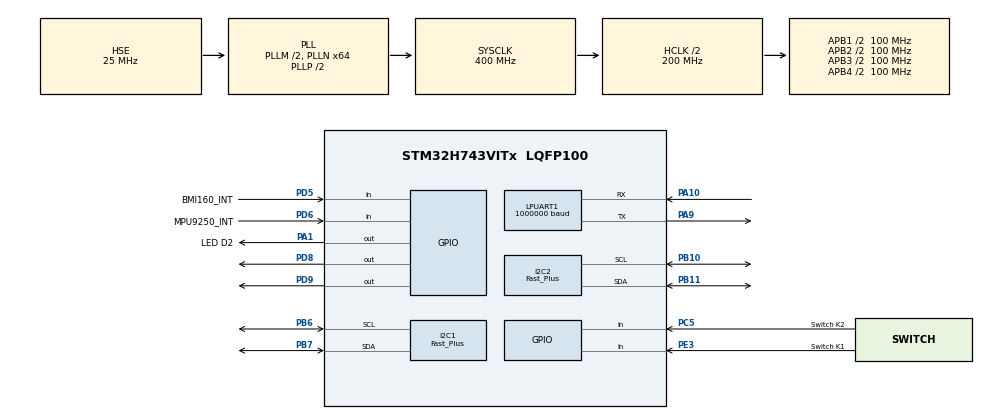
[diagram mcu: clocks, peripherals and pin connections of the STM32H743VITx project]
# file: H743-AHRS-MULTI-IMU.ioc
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I2C1.I2C_Speed_Mode=I2C_Fast_Plus
I2C1.Timing=0x00401242
I2C2.I2C_Speed_Mode=I2C_Fast_Plus
I2C2.Timing=0x00401242
LPUART1.BaudRate=1000000
Mcu.Family=STM32H7
Mcu.Name=STM32H743VITx
Mcu.Package=LQFP100
NVIC.PriorityGroup=NVIC_PRIORITYGROUP_4
PA1.GPIO_Label=LED D2
PA1.Signal=GPIO_Output
PA10.Mode=Asynchronous
PA10.Signal=LPUART1_RX
PA13\ (JTMS/SWDIO).Mode=Serial_Wire
PA13\ (JTMS/SWDIO).Signal=DEBUG_JTMS-SWDIO
PA14\ (JTCK/SWCLK).Mode=Serial_Wire
PA14\ (JTCK/SWCLK).Signal=DEBUG_JTCK-SWCLK
PA9.Mode=Asynchronous
PA9.Signal=LPUART1_TX
PB10.Mode=I2C
PB10.Signal=I2C2_SCL
PB11.Mode=I2C
PB11.Signal=I2C2_SDA
PB6.Mode=I2C
PB6.Signal=I2C1_SCL
PB7.Mode=I2C
PB7.Signal=I2C1_SDA
PC14-OSC32_IN\ (OSC32_IN).Mode=LSE-External-Oscillator
PC14-OSC32_IN\ (OSC32_IN).Signal=RCC_OSC32_IN
PC15-OSC32_OUT\ (OSC32_OUT).Mode=LSE-External-Oscillator
PC15-OSC32_OUT\ (OSC32_OUT).Signal=RCC_OSC32_OUT
PC5.GPIO_Label=Switch K2
PC5.Signal=GPIO_Input
PD5.GPIO_Label=BMI160_INT
PD5.Signal=GPIO_Input
PD6.GPIO_Label=MPU9250_INT
PD6.Signal=GPIO_Input
PD8.Signal=GPIO_Output
PD9.Signal=GPIO_Output
PE3.GPIO_Label=Switch K1
PE3.Signal=GPIO_Input
PH0-OSC_IN\ (PH0).Mode=HSE-External-Oscillator
PH0-OSC_IN\ (PH0).Signal=RCC_OSC_IN
PH1-OSC_OUT\ (PH1).Mode=HSE-External-Oscillator
PH1-OSC_OUT\ (PH1).Signal=RCC_OSC_OUT
ProjectManager.HeapSize=0x400
ProjectManager.StackSize=0x800
ProjectManager.TargetToolchain=STM32CubeIDE
RCC.ADCFreq_Value=50390625
RCC.APB1Freq_Value=100000000
RCC.APB2Freq_Value=100000000
RCC.APB3Freq_Value=100000000
RCC.APB4Freq_Value=100000000
RCC.CortexFreq_Value=400000000
RCC.D1PPRE=RCC_APB3_DIV2
RCC.D2PPRE1=RCC_APB1_DIV2
RCC.D2PPRE2=RCC_APB2_DIV2
RCC.D3PPRE=RCC_APB4_DIV2
RCC.DIVM1=2
RCC.DIVN1=64
RCC.DIVQ1=1
RCC.DIVR1=8
RCC.HCLKFreq_Value=200000000
RCC.HPRE=RCC_HCLK_DIV2
RCC.PLL2FRACN=0
RCC.PLL2_VCI_Range-AdvancedSettings=RCC_PLL2VCIRANGE_0
RCC.PLL3FRACN=0
RCC.PLLFRACN=0
RCC.PLLSourceVirtual=RCC_PLLSOURCE_HSE
RCC.PWR_Regulator_Voltage_Scale=PWR_REGULATOR_VOLTAGE_SCALE0
RCC.SYSCLKFreq_VALUE=400000000
RCC.SYSCLKSource=RCC_SYSCLKSOURCE_PLLCLK
RCC.USBFreq_Value=800000000
board=custom

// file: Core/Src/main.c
/* USER CODE BEGIN Header */
/**
  ******************************************************************************
  * @file           : main.c
  * @brief          : Main program body
  ******************************************************************************
  * @attention
  *
  * Copyright (c) 2022 STMicroelectronics.
  * All rights reserved.
  *
  * This software is licensed under terms that can be found in the LICENSE file
  * in the root directory of this software component.
  * If no LICENSE file comes with this software, it is provided AS-IS.
  *
  ******************************************************************************
  */
/* USER CODE END Header */
#include "main.h"
#include "i2c.h"
#include "usart.h"
#include "gpio.h"
/* USER CODE BEGIN Includes */
#include "stdint.h"
#include "stdio.h"
#include "math.h"
#include "mpu6050.h"
#include "bmi160_wrapper.h"
#include "micros.h"
#include "quaternion.h"
#include "LowPassFilter.h"
#include "NotchFilter.h"
/* USER CODE END Includes */

/* USER CODE BEGIN PTD */
MPU6050_t imu_mpu_t;
BMI160_t imu_bmi_t;

Quaternion_t quaternion_mpu_t;
Quaternion_t quaternion_bmi_t;

NotchFilter_t NF_mpu_gyro_x, NF_mpu_gyro_y, NF_mpu_gyro_z;
LPFTwoPole_t LPF_mpu_accel_x, LPF_mpu_accel_y, LPF_mpu_accel_z, LPF_mpu_gyro_x, LPF_mpu_gyro_y, LPF_mpu_gyro_z;

NotchFilter_t NF_bmi_gyro_x, NF_bmi_gyro_y, NF_bmi_gyro_z;
LPFTwoPole_t LPF_bmi_accel_x, LPF_bmi_accel_y, LPF_bmi_accel_z, LPF_bmi_gyro_x, LPF_bmi_gyro_y, LPF_bmi_gyro_z;
/* USER CODE END PTD */

/* USER CODE BEGIN PD */

#define 	SAMPLE_FREQ_HZ 		500.0f	// Data sample frequency in Hz
#define 	LPF_ACCEL_CTOFF_HZ 	260.0f	// LPF Cut-Off or accelerometer
#define 	LPF_GYRO_CTOFF_HZ 	256.0f	// LPF Cut-Off or gyro
#define 	NF_GYRO_CFREQ_HZ	74.0f	// NF center frequency for Gyro
#define 	NF_GYRO_NWDTH_HZ	5.0f	// NF notch-width frequency for Gyro
/* USER CODE END PD */

void SystemClock_Config(void);

/* USER CODE BEGIN 0 */
int _write(int file, char *ptr, int len)
{
	HAL_UART_Transmit(&hlpuart1, (uint8_t*)ptr, len, HAL_MAX_DELAY);
	return len;
}

float sample_time_sec_f32 = 1.0f / SAMPLE_FREQ_HZ;
float sample_time_ms_f32 = (1.0f / SAMPLE_FREQ_HZ) * 1000.0f;
float sample_time_us_f32 = (1.0f / SAMPLE_FREQ_HZ) * 1000000.0f;

float MPU_accelLowPassFiltered_f32[3], MPU_gyroLowPassFiltered_f32[3], MPU_gyroNotchFiltered_f32[3];
float BMI_accelLowPassFiltered_f32[3], BMI_gyroLowPassFiltered_f32[3], BMI_gyroNotchFiltered_f32[3];

float MPU_eulerAngles_f32[3];
float BMI_eulerAngles_f32[3];

uint64_t timer_u64 = 0;
uint64_t lastTime_u64 = 0;
/* USER CODE END 0 */

int main(void)
{

  /* MCU Configuration--------------------------------------------------------*/

  /* Reset of all peripherals, Initializes the Flash interface and the Systick. */
  HAL_Init();

  /* Configure the system clock */
  SystemClock_Config();

  /* Initialize all configured peripherals */
  MX_GPIO_Init();
  MX_LPUART1_UART_Init();
  MX_I2C1_Init();
  MX_I2C2_Init();
  /* USER CODE BEGIN 2 */

  HAL_GPIO_WritePin(GPIOA, GPIO_PIN_1, SET);

  //Init DWT Clock for proper us time tick
  DWT_Init();

  //Init filter with predefined settings
  LPFTwoPole_Init(&LPF_mpu_accel_x, LPF_TYPE_BESSEL, LPF_ACCEL_CTOFF_HZ, sample_time_sec_f32);
  LPFTwoPole_Init(&LPF_mpu_accel_y, LPF_TYPE_BESSEL, LPF_ACCEL_CTOFF_HZ, sample_time_sec_f32);
  LPFTwoPole_Init(&LPF_mpu_accel_z, LPF_TYPE_BESSEL, LPF_ACCEL_CTOFF_HZ, sample_time_sec_f32);

  LPFTwoPole_Init(&LPF_bmi_accel_x, LPF_TYPE_BESSEL, LPF_ACCEL_CTOFF_HZ, sample_time_sec_f32);
  LPFTwoPole_Init(&LPF_bmi_accel_y, LPF_TYPE_BESSEL, LPF_ACCEL_CTOFF_HZ, sample_time_sec_f32);
  LPFTwoPole_Init(&LPF_bmi_accel_z, LPF_TYPE_BESSEL, LPF_ACCEL_CTOFF_HZ, sample_time_sec_f32);

  LPFTwoPole_Init(&LPF_mpu_gyro_x, LPF_TYPE_BESSEL, LPF_GYRO_CTOFF_HZ, sample_time_sec_f32);
  LPFTwoPole_Init(&LPF_mpu_gyro_y, LPF_TYPE_BESSEL, LPF_GYRO_CTOFF_HZ, sample_time_sec_f32);
  LPFTwoPole_Init(&LPF_mpu_gyro_z, LPF_TYPE_BESSEL, LPF_GYRO_CTOFF_HZ, sample_time_sec_f32);

  LPFTwoPole_Init(&LPF_bmi_gyro_x, LPF_TYPE_BESSEL, LPF_GYRO_CTOFF_HZ, sample_time_sec_f32);
  LPFTwoPole_Init(&LPF_bmi_gyro_y, LPF_TYPE_BESSEL, LPF_GYRO_CTOFF_HZ, sample_time_sec_f32);
  LPFTwoPole_Init(&LPF_bmi_gyro_z, LPF_TYPE_BESSEL, LPF_GYRO_CTOFF_HZ, sample_time_sec_f32);

  NotchFilterInit(&NF_mpu_gyro_x, NF_GYRO_CFREQ_HZ, NF_GYRO_NWDTH_HZ, sample_time_sec_f32);
  NotchFilterInit(&NF_mpu_gyro_y, NF_GYRO_CFREQ_HZ, NF_GYRO_NWDTH_HZ, sample_time_sec_f32);
  NotchFilterInit(&NF_mpu_gyro_z, NF_GYRO_CFREQ_HZ, NF_GYRO_NWDTH_HZ, sample_time_sec_f32);

  NotchFilterInit(&NF_bmi_gyro_x, NF_GYRO_CFREQ_HZ, NF_GYRO_NWDTH_HZ, sample_time_sec_f32);
  NotchFilterInit(&NF_bmi_gyro_y, NF_GYRO_CFREQ_HZ, NF_GYRO_NWDTH_HZ, sample_time_sec_f32);
  NotchFilterInit(&NF_bmi_gyro_z, NF_GYRO_CFREQ_HZ, NF_GYRO_NWDTH_HZ, sample_time_sec_f32);

  //Init state estimators
  quaternionInit(&quaternion_mpu_t, sample_time_us_f32);
  quaternionInit(&quaternion_bmi_t, sample_time_us_f32);

  //Init sensors
	while (MPU6050_Init(&hi2c1, &imu_mpu_t));

	while (BMI160_init(imu_bmi_t) == 1);

	if ((imu_bmi_t.INIT_OK_i8 != TRUE) && (imu_mpu_t.CALIBRATIN_OK_u8 == TRUE))
	{
	   HAL_GPIO_WritePin(GPIOA, GPIO_PIN_1, RESET);
	}

	uint8_t newData_u8;
  /* USER CODE END 2 */

  /* Infinite loop */
  while (1)
  {

    /* USER CODE BEGIN 3 */

	//Get system time in us
	timer_u64 =  micros();

	if ( ((timer_u64 - lastTime_u64) >= sample_time_us_f32) && (imu_mpu_t.CALIBRATIN_OK_u8 == TRUE) && (imu_bmi_t.INIT_OK_i8 != TRUE))
	{
		lastTime_u64 = timer_u64 = micros();

		/**************************************| DATA READ |**************************************/

		//Read MPU6050 sensor data
		readMPU6050(&hi2c1, &imu_mpu_t);
		bmi160ReadAccelGyro(&imu_bmi_t);

		/**************************************| FILTERING |**************************************/

		//Get accelerometer data in "g" and run LPF
		MPU_accelLowPassFiltered_f32[0] = (LPFTwoPole_Update(&LPF_mpu_accel_x, imu_mpu_t.MPU6050_Accel_f32[0]));
		MPU_accelLowPassFiltered_f32[1] = (LPFTwoPole_Update(&LPF_mpu_accel_y, imu_mpu_t.MPU6050_Accel_f32[1]));
		MPU_accelLowPassFiltered_f32[2] = (LPFTwoPole_Update(&LPF_mpu_accel_z, imu_mpu_t.MPU6050_Accel_f32[2]));

		BMI_accelLowPassFiltered_f32[0] = (LPFTwoPole_Update(&LPF_bmi_accel_x, imu_bmi_t.BMI160_Accel_f32[0]));
		BMI_accelLowPassFiltered_f32[1] = (LPFTwoPole_Update(&LPF_bmi_accel_y, imu_bmi_t.BMI160_Accel_f32[1]));
		BMI_accelLowPassFiltered_f32[2] = (LPFTwoPole_Update(&LPF_bmi_accel_z, imu_bmi_t.BMI160_Accel_f32[2]));

		//Get gyro data in "deg/s" and run Notch Filter to flat-out any data in specific frequency band
		MPU_gyroNotchFiltered_f32[0] = NotchFilter_Update(&NF_mpu_gyro_x, imu_mpu_t.MPU6050_Gyro_f32[0]);
		MPU_gyroNotchFiltered_f32[1] = NotchFilter_Update(&NF_mpu_gyro_y, imu_mpu_t.MPU6050_Gyro_f32[1]);
		MPU_gyroNotchFiltered_f32[2] = NotchFilter_Update(&NF_mpu_gyro_z, imu_mpu_t.MPU6050_Gyro_f32[2]);

		BMI_gyroNotchFiltered_f32[0] = NotchFilter_Update(&NF_bmi_gyro_x, imu_bmi_t.BMI160_Gyro_f32[0]);
		BMI_gyroNotchFiltered_f32[1] = NotchFilter_Update(&NF_bmi_gyro_y, imu_bmi_t.BMI160_Gyro_f32[1]);
		BMI_gyroNotchFiltered_f32[2] = NotchFilter_Update(&NF_bmi_gyro_z, imu_bmi_t.BMI160_Gyro_f32[2]);

		//Put Notch Filter data into Low Pass Filter
		MPU_gyroLowPassFiltered_f32[0] = (LPFTwoPole_Update(&LPF_mpu_gyro_x, MPU_gyroNotchFiltered_f32[0]));
		MPU_gyroLowPassFiltered_f32[1] = (LPFTwoPole_Update(&LPF_mpu_gyro_y, MPU_gyroNotchFiltered_f32[1]));
		MPU_gyroLowPassFiltered_f32[2] = (LPFTwoPole_Update(&LPF_mpu_gyro_z, MPU_gyroNotchFiltered_f32[2]));

		BMI_gyroLowPassFiltered_f32[0] = (LPFTwoPole_Update(&LPF_bmi_gyro_x, BMI_gyroNotchFiltered_f32[0]));
		BMI_gyroLowPassFiltered_f32[1] = (LPFTwoPole_Update(&LPF_bmi_gyro_y, BMI_gyroNotchFiltered_f32[1]));
		BMI_gyroLowPassFiltered_f32[2] = (LPFTwoPole_Update(&LPF_bmi_gyro_z, BMI_gyroNotchFiltered_f32[2]));

		/**************************************| ESTIMATION |**************************************/

		//Get state estimations, using quaternion and fusion-quaternion based estimators
		quaternionUpdate(&quaternion_mpu_t, MPU_accelLowPassFiltered_f32[0], MPU_accelLowPassFiltered_f32[1], MPU_accelLowPassFiltered_f32[2],
				MPU_gyroNotchFiltered_f32[0]*(M_PI/180.0f), MPU_gyroNotchFiltered_f32[1]*(M_PI/180.0f), MPU_gyroNotchFiltered_f32[2]*(M_PI/180.0f));

		quaternionUpdate(&quaternion_bmi_t, BMI_accelLowPassFiltered_f32[0], BMI_accelLowPassFiltered_f32[1], BMI_accelLowPassFiltered_f32[2],
				BMI_gyroNotchFiltered_f32[0]*(M_PI/180.0f), BMI_gyroNotchFiltered_f32[1]*(M_PI/180.0f), BMI_gyroNotchFiltered_f32[2]*(M_PI/180.0f));

		newData_u8 = TRUE; //Set newData to high for activate UART printer

	}//end of timer if

	if(newData_u8)
	{
		printf("%f, %f, %f, %f, %f, %f\r\n",
				quaternion_mpu_t.yaw, quaternion_mpu_t.pitch, quaternion_mpu_t.roll,
				quaternion_bmi_t.yaw, quaternion_bmi_t.pitch, quaternion_bmi_t.roll);

		newData_u8 = FALSE;
	}

  }
  /* USER CODE END 3 */
}

void SystemClock_Config(void)
{
  RCC_OscInitTypeDef RCC_OscInitStruct = {0};
  RCC_ClkInitTypeDef RCC_ClkInitStruct = {0};

  /** Supply configuration update enable
  */
  HAL_PWREx_ConfigSupply(PWR_LDO_SUPPLY);
  /** Configure the main internal regulator output voltage
  */
  __HAL_PWR_VOLTAGESCALING_CONFIG(PWR_REGULATOR_VOLTAGE_SCALE0);

  while(!__HAL_PWR_GET_FLAG(PWR_FLAG_VOSRDY)) {}
  /** Initializes the RCC Oscillators according to the specified parameters
  * in the RCC_OscInitTypeDef structure.
  */
  RCC_OscInitStruct.OscillatorType = RCC_OSCILLATORTYPE_HSE;
  RCC_OscInitStruct.HSEState = RCC_HSE_ON;
  RCC_OscInitStruct.PLL.PLLState = RCC_PLL_ON;
  RCC_OscInitStruct.PLL.PLLSource = RCC_PLLSOURCE_HSE;
  RCC_OscInitStruct.PLL.PLLM = 2;
  RCC_OscInitStruct.PLL.PLLN = 64;
  RCC_OscInitStruct.PLL.PLLP = 2;
  RCC_OscInitStruct.PLL.PLLQ = 1;
  RCC_OscInitStruct.PLL.PLLR = 8;
  RCC_OscInitStruct.PLL.PLLRGE = RCC_PLL1VCIRANGE_3;
  RCC_OscInitStruct.PLL.PLLVCOSEL = RCC_PLL1VCOWIDE;
  RCC_OscInitStruct.PLL.PLLFRACN = 0;
  if (HAL_RCC_OscConfig(&RCC_OscInitStruct) != HAL_OK)
  {
    Error_Handler();
  }
  /** Initializes the CPU, AHB and APB buses clocks
  */
  RCC_ClkInitStruct.ClockType = RCC_CLOCKTYPE_HCLK|RCC_CLOCKTYPE_SYSCLK
                              |RCC_CLOCKTYPE_PCLK1|RCC_CLOCKTYPE_PCLK2
                              |RCC_CLOCKTYPE_D3PCLK1|RCC_CLOCKTYPE_D1PCLK1;
  RCC_ClkInitStruct.SYSCLKSource = RCC_SYSCLKSOURCE_PLLCLK;
  RCC_ClkInitStruct.SYSCLKDivider = RCC_SYSCLK_DIV1;
  RCC_ClkInitStruct.AHBCLKDivider = RCC_HCLK_DIV2;
  RCC_ClkInitStruct.APB3CLKDivider = RCC_APB3_DIV2;
  RCC_ClkInitStruct.APB1CLKDivider = RCC_APB1_DIV2;
  RCC_ClkInitStruct.APB2CLKDivider = RCC_APB2_DIV2;
  RCC_ClkInitStruct.APB4CLKDivider = RCC_APB4_DIV2;

  if (HAL_RCC_ClockConfig(&RCC_ClkInitStruct, FLASH_LATENCY_2) != HAL_OK)
  {
    Error_Handler();
  }
}

void Error_Handler(void)
{
  __disable_irq();
  while (1)
  {
  }
}
